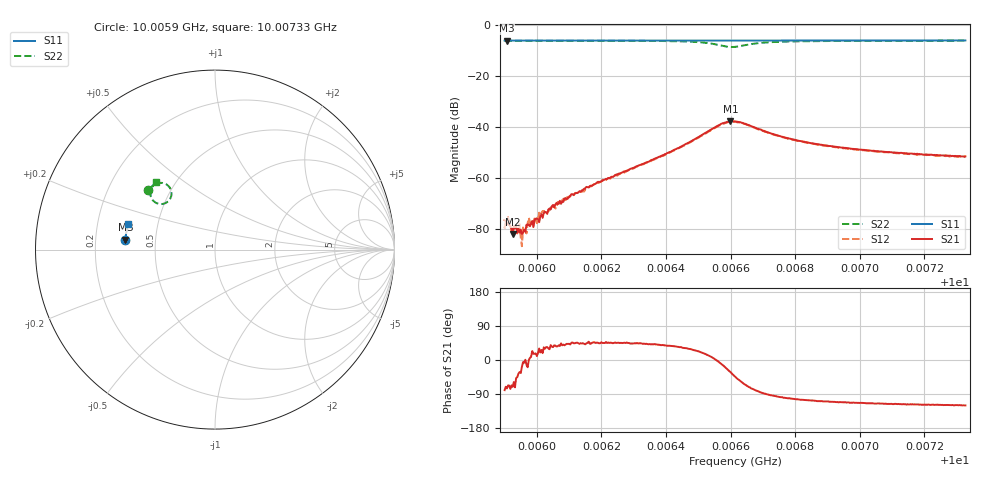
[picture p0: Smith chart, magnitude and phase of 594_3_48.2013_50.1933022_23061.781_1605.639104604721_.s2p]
#  HZ  S  RI  R  50.00
! Rohde & Schwarz Vector Network Analyzer
! Rohde-Schwarz,ZNB20-2Port,1311601062101988,3.16
! Created: UTC 3/20/2024, 12:02:44 PM
! freq[Hz]  re:S11  im:S11  re:S21  im:S21  re:S12  im:S12  re:S22  im:S22
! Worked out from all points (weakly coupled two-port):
!   401 points, 10.0059 GHz to 10.00733 GHz, reference 50 ohm
!   highest |S21| = -37.70 dB at 10.0066 GHz (marker M1); lowest = -82.0 dB at 10.00593 GHz (marker M2)
!   lowest |S11| = -6.0 dB at 10.00591 GHz (marker M3), VSWR 3.02, Z = 16.6 + j2.44 ohm
!   |S11| at or under -10 dB: nowhere
!   |S22| runs from -8.5 to -6.0 dB; largest |S21 - S12| = 0.00096
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1.0005901e10  -0.4994 0.0545  2.72e-05 -0.000146  -2.54e-05 -9.95e-05  -0.3731 0.3299
1.0005908e10  -0.4993 0.0548  3.4e-05 -0.000127  4.18e-05 -0.000128  -0.3725 0.3305
1.0005911e10  -0.4994 0.0552  4.67e-05 -0.00011  5.37e-05 -0.00016  -0.3725 0.3307
1.0005926e10  -0.4992 0.0561  2.62e-05 -7.5e-05  6.6e-05 -4.55e-05  -0.3717 0.3316
1.0005961e10  -0.4992 0.0585  9.5e-05 -1.22e-05  7.99e-05 -1.81e-05  -0.3697 0.3338
1.0005972e10  -0.4991 0.0592  0.000113 -3.93e-05  0.000127 2.64e-05  -0.3691 0.3346
1.0005997e10  -0.4988 0.0608  0.000151 4.74e-05  0.000156 7.83e-05  -0.3677 0.3362
1.0006015e10  -0.4988 0.062  0.000172 8.55e-05  0.000165 0.000122  -0.3666 0.3374
1.0006033e10  -0.4987 0.0631  0.000163 0.00011  0.000162 0.000121  -0.3656 0.3386
1.0006054e10  -0.4986 0.0645  0.000207 0.000166  0.000222 0.00019  -0.3641 0.3399
1.0006086e10  -0.4983 0.0666  0.000309 0.000248  0.000264 0.000279  -0.3622 0.3422
1.000614e10  -0.498 0.07  0.000413 0.000391  0.000346 0.000416  -0.3584 0.3459
1.0006182e10  -0.4975 0.0729  0.000544 0.000543  0.000519 0.000578  -0.3549 0.3492
1.0006378e10  -0.4959 0.0856  0.00199 0.00169  0.00183 0.00171  -0.3305 0.3658
1.0006521e10  -0.494 0.0949  0.00731 0.00213  0.00696 0.00242  -0.2734 0.3648
1.0006567e10  -0.4929 0.0977  0.0111 -0.00148  0.0109 -0.00083  -0.2436 0.3251
1.0006599e10  -0.4926 0.0991  0.0111 -0.00688  0.0111 -0.0062  -0.255 0.276
1.0006614e10  -0.4926 0.0998  0.00932 -0.00885  0.00977 -0.0083  -0.2736 0.2605
1.0006692e10  -0.4924 0.1045  0.000719 -0.00901  0.0013 -0.00877  -0.3521 0.283
1.0006853e10  -0.491 0.1152  -0.00139 -0.00461  -0.00117 -0.00461  -0.3563 0.3362
1.0007091e10  -0.4876 0.1304  -0.00142 -0.00292  -0.00125 -0.00292  -0.341 0.3629
1.0007327e10  -0.484 0.1452  -0.00133 -0.00231  -0.00115 -0.0023  -0.3277 0.3784
